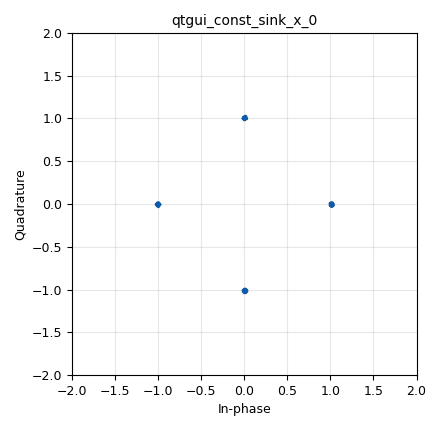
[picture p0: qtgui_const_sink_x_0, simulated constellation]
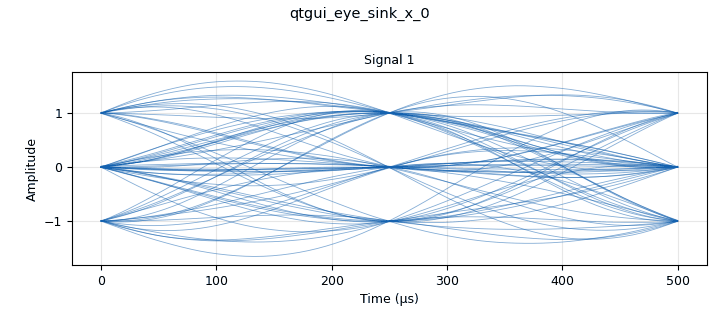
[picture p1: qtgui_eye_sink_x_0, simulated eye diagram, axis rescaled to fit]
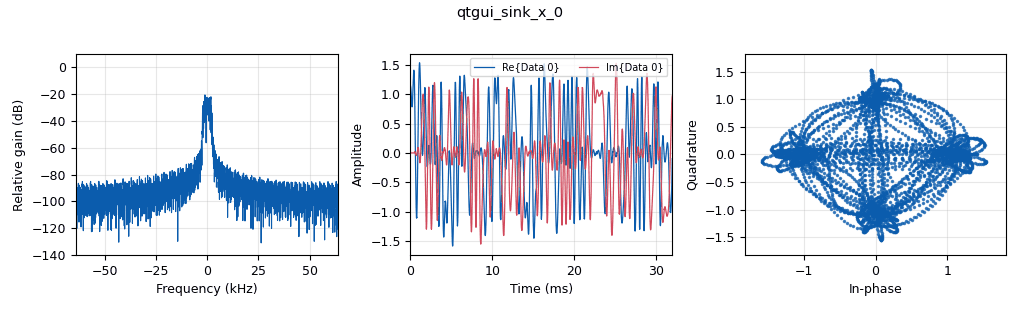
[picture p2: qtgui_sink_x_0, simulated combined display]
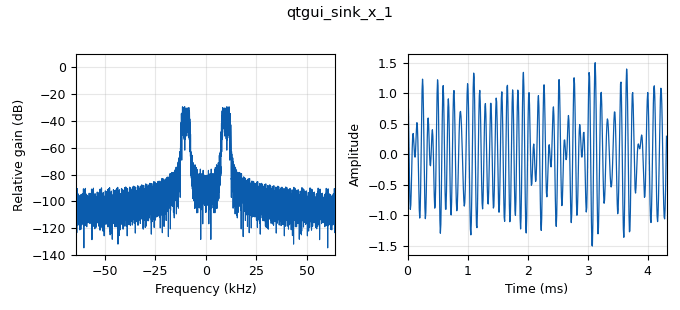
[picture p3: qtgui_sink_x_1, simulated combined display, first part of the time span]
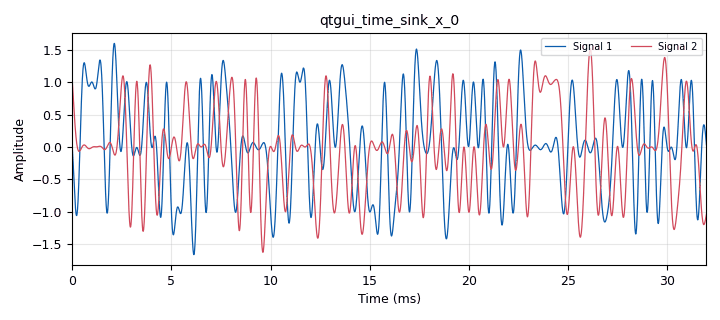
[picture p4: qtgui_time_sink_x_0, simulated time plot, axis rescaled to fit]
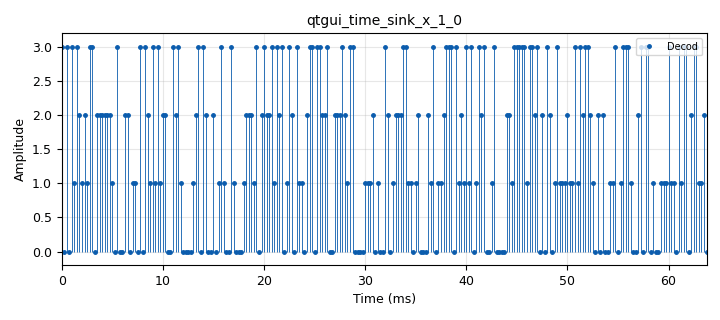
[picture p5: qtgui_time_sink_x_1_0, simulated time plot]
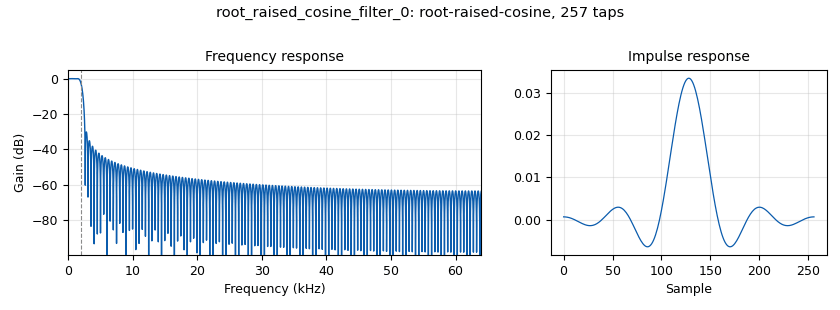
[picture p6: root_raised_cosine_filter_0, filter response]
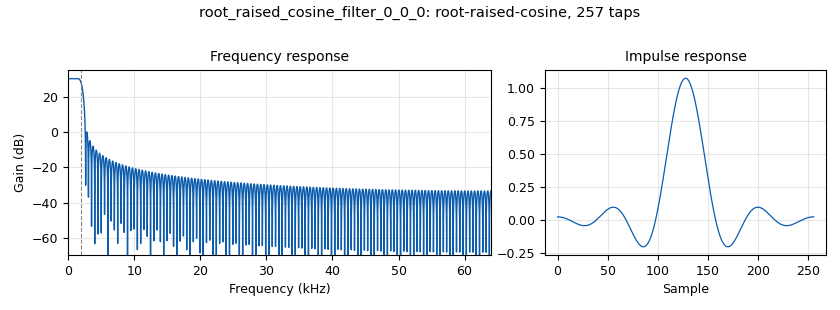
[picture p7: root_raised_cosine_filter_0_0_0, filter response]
options:
  parameters:
    generate_options: qt_gui
    id: qpsk
    output_language: python
    title: Not titled yet
  states: {}

blocks:
- name: qpsk_const
  id: variable_constellation
  parameters:
    const_points: '[-0-1j, -1+0j, 0+1j, 1-0j]'
    dims: '1'
    normalization: digital.constellation.AMPLITUDE_NORMALIZATION
    precision: '8'
    rot_sym: '4'
    sym_map: '[0, 1, 3, 2]'
    type: calcdist
  states: {}
- name: samp_rate
  id: variable
  parameters:
    value: symbol_rate*sps
  states: {}
- name: sps
  id: variable
  parameters:
    value: '32'
  states: {}
- name: symbol_rate
  id: variable
  parameters:
    value: '4000'
  states: {}
- name: analog_random_source_x_0
  id: analog_random_source_x
  parameters:
    max: '4'
    min: '0'
    num_samps: '256'
    repeat: 'True'
    type: byte
  states: {}
- name: analog_sig_source_x_0
  id: analog_sig_source_x
  parameters:
    amp: '1'
    freq: '10000'
    offset: '0'
    phase: '0'
    samp_rate: samp_rate
    type: complex
    waveform: analog.GR_COS_WAVE
  states: {}
- name: analog_sig_source_x_0_0
  id: analog_sig_source_x
  parameters:
    amp: '-2'
    freq: '10000'
    offset: '0'
    phase: '0'
    samp_rate: samp_rate
    type: float
    waveform: analog.GR_SIN_WAVE
  states: {}
- name: analog_sig_source_x_0_0_0
  id: analog_sig_source_x
  parameters:
    amp: '2'
    freq: '10000'
    offset: '0'
    phase: '0'
    samp_rate: samp_rate
    type: float
    waveform: analog.GR_COS_WAVE
  states: {}
- name: blocks_char_to_float_0
  id: blocks_char_to_float
  parameters:
    scale: '1'
  states: {}
- name: blocks_char_to_float_0_0
  id: blocks_char_to_float
  parameters:
    scale: '1'
  states: {}
- name: blocks_complex_to_float_0
  id: blocks_complex_to_float
  parameters: {}
  states: {}
- name: blocks_delay_0
  id: blocks_delay
  parameters:
    delay: '255'
    type: complex
  states: {}
- name: blocks_float_to_complex_0
  id: blocks_float_to_complex
  parameters: {}
  states: {}
- name: blocks_keep_one_in_n_0
  id: blocks_keep_one_in_n
  parameters:
    n: sps
    type: complex
  states: {}
- name: blocks_multiply_xx_0
  id: blocks_multiply_xx
  parameters:
    type: complex
  states: {}
- name: blocks_multiply_xx_0_0
  id: blocks_multiply_xx
  parameters:
    type: float
  states: {}
- name: blocks_multiply_xx_0_0_0
  id: blocks_multiply_xx
  parameters:
    type: float
  states: {}
- name: blocks_throttle2_0
  id: blocks_throttle2
  parameters:
    limit: items
    samples_per_second: symbol_rate
    type: byte
  states: {}
- name: digital_constellation_decoder_cb_0
  id: digital_constellation_decoder_cb
  parameters:
    constellation: qpsk_const
  states: {}
- name: digital_constellation_encoder_bc_0
  id: digital_constellation_encoder_bc
  parameters:
    constellation: qpsk_const
  states: {}
- name: qtgui_const_sink_x_0
  id: qtgui_const_sink_x
  parameters:
    size: '256'
    type: complex
  states: {}
- name: qtgui_eye_sink_x_0
  id: qtgui_eye_sink_x
  parameters:
    samp_per_symbol: sps
    size: '4096'
    srate: samp_rate
    type: float
  states: {}
- name: qtgui_sink_x_0
  id: qtgui_sink_x
  parameters:
    bw: samp_rate
    fc: '0'
    fftsize: '4096'
    type: complex
  states: {}
- name: qtgui_sink_x_1
  id: qtgui_sink_x
  parameters:
    bw: samp_rate
    fc: '0'
    fftsize: '8192'
    type: float
  states: {}
- name: qtgui_time_sink_x_0
  id: qtgui_time_sink_x
  parameters:
    nconnections: '2'
    size: '4096'
    srate: samp_rate
    type: float
  states: {}
- name: qtgui_time_sink_x_1_0
  id: qtgui_time_sink_x
  parameters:
    label1: Decod
    marker1: '0'
    size: '256'
    srate: symbol_rate
    stemplot: 'True'
    type: float
    ymax: '3.2'
    ymin: '-.2'
  states: {}
- name: qtgui_time_sink_x_1_0_0
  id: qtgui_time_sink_x
  parameters:
    label1: Cod
    marker1: '0'
    size: '256'
    srate: symbol_rate
    stemplot: 'True'
    type: float
    ymax: '3.2'
    ymin: '-.2'
  states: {}
- name: root_raised_cosine_filter_0
  id: root_raised_cosine_filter
  parameters:
    alpha: '0.25'
    decim: '1'
    gain: '1'
    ntaps: sps*8
    samp_rate: samp_rate
    sym_rate: samp_rate//sps
    type: fir_filter_fff
  states: {}
- name: root_raised_cosine_filter_0_0
  id: root_raised_cosine_filter
  parameters:
    alpha: '0.25'
    decim: '1'
    gain: '1'
    ntaps: sps*8
    samp_rate: samp_rate
    sym_rate: samp_rate//sps
    type: fir_filter_fff
  states: {}
- name: root_raised_cosine_filter_0_0_0
  id: root_raised_cosine_filter
  parameters:
    alpha: '0.25'
    gain: sps
    interp: sps
    ntaps: sps*8
    samp_rate: samp_rate
    sym_rate: samp_rate//sps
    type: interp_fir_filter_ccf
  states: {}
- name: virtual_sink_0
  id: virtual_sink
  parameters:
    stream_id: RF
  states: {}
- name: virtual_source_0
  id: virtual_source
  parameters:
    stream_id: RF
  states: {}

connections:
- [analog_random_source_x_0, '0', blocks_throttle2_0, '0']
- [analog_sig_source_x_0, '0', blocks_multiply_xx_0, '1']
- [analog_sig_source_x_0_0, '0', blocks_multiply_xx_0_0, '1']
- [analog_sig_source_x_0_0_0, '0', blocks_multiply_xx_0_0_0, '1']
- [blocks_char_to_float_0, '0', qtgui_time_sink_x_1_0_0, '0']
- [blocks_char_to_float_0_0, '0', qtgui_time_sink_x_1_0, '0']
- [blocks_complex_to_float_0, '0', qtgui_sink_x_1, '0']
- [blocks_complex_to_float_0, '0', virtual_sink_0, '0']
- [blocks_delay_0, '0', blocks_keep_one_in_n_0, '0']
- [blocks_float_to_complex_0, '0', blocks_delay_0, '0']
- [blocks_keep_one_in_n_0, '0', digital_constellation_decoder_cb_0, '0']
- [blocks_keep_one_in_n_0, '0', qtgui_const_sink_x_0, '0']
- [blocks_multiply_xx_0, '0', blocks_complex_to_float_0, '0']
- [blocks_multiply_xx_0_0, '0', root_raised_cosine_filter_0_0, '0']
- [blocks_multiply_xx_0_0_0, '0', root_raised_cosine_filter_0, '0']
- [blocks_throttle2_0, '0', blocks_char_to_float_0, '0']
- [blocks_throttle2_0, '0', digital_constellation_encoder_bc_0, '0']
- [digital_constellation_decoder_cb_0, '0', blocks_char_to_float_0_0, '0']
- [digital_constellation_encoder_bc_0, '0', root_raised_cosine_filter_0_0_0, '0']
- [root_raised_cosine_filter_0, '0', blocks_float_to_complex_0, '0']
- [root_raised_cosine_filter_0, '0', qtgui_eye_sink_x_0, '0']
- [root_raised_cosine_filter_0, '0', qtgui_time_sink_x_0, '0']
- [root_raised_cosine_filter_0_0, '0', blocks_float_to_complex_0, '1']
- [root_raised_cosine_filter_0_0, '0', qtgui_time_sink_x_0, '1']
- [root_raised_cosine_filter_0_0_0, '0', blocks_multiply_xx_0, '0']
- [root_raised_cosine_filter_0_0_0, '0', qtgui_sink_x_0, '0']
- [virtual_source_0, '0', blocks_multiply_xx_0_0, '0']
- [virtual_source_0, '0', blocks_multiply_xx_0_0_0, '0']

metadata:
  file_format: 1
  grc_version: 3.10.11.0
